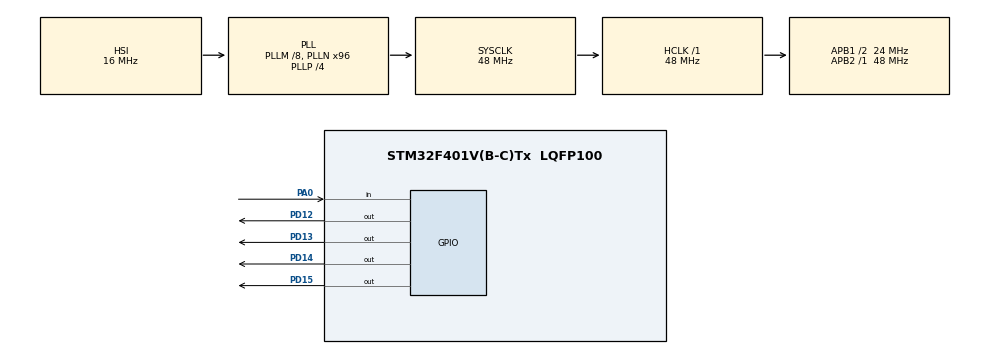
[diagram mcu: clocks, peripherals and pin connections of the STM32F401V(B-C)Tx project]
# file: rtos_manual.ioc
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Mcu.Family=STM32F4
Mcu.Name=STM32F401V(B-C)Tx
Mcu.Package=LQFP100
NVIC.PriorityGroup=NVIC_PRIORITYGROUP_4
PA0-WKUP.Signal=GPIO_Input
PD12.Signal=GPIO_Output
PD13.Signal=GPIO_Output
PD14.Signal=GPIO_Output
PD15.Signal=GPIO_Output
ProjectManager.HeapSize=0x2000
ProjectManager.StackSize=0x4000
ProjectManager.TargetToolchain=STM32CubeIDE
RCC.48MHZClocksFreq_Value=48000000
RCC.AHBFreq_Value=48000000
RCC.APB1CLKDivider=RCC_HCLK_DIV2
RCC.APB1Freq_Value=24000000
RCC.APB1TimFreq_Value=48000000
RCC.APB2Freq_Value=48000000
RCC.APB2TimFreq_Value=48000000
RCC.CortexFreq_Value=48000000
RCC.HCLKFreq_Value=48000000
RCC.HSE_VALUE=25000000
RCC.HSI_VALUE=16000000
RCC.LSE_VALUE=32768
RCC.PLLM=8
RCC.PLLN=96
RCC.PLLP=RCC_PLLP_DIV4
RCC.SYSCLKFreq_VALUE=48000000
RCC.SYSCLKSource=RCC_SYSCLKSOURCE_PLLCLK
RCC.VCOOutputFreq_Value=192000000
board=custom

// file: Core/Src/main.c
/* USER CODE BEGIN Header */
/**
  ******************************************************************************
  * @file           : main.c
  * @brief          : Main program body
  ******************************************************************************
  * @attention
  *
  * Copyright (c) 2024 STMicroelectronics.
  * All rights reserved.
  *
  * This software is licensed under terms that can be found in the LICENSE file
  * in the root directory of this software component.
  * If no LICENSE file comes with this software, it is provided AS-IS.
  *
  ******************************************************************************
  */
/* USER CODE END Header */
#include "main.h"

/* USER CODE BEGIN Includes */
#include "FreeRTOS.h"
#include "task.h"
/* USER CODE END Includes */

void SystemClock_Config(void);
static void MX_GPIO_Init(void);

/* USER CODE BEGIN 0 */
void vTask1(void *pvParameters) {
	//HAL_GPIO_TogglePin(GPIOD, GPIO_PIN_12);
    while(1)
    {
        // Toggle the first LED (e.g., GPIO_PIN_5)
        HAL_GPIO_TogglePin(GPIOD, GPIO_PIN_12);

        // Delay for 500 milliseconds
        vTaskDelay(500 / portTICK_PERIOD_MS);
    }
}

void vTask2(void *pvParameters) {
	//HAL_GPIO_TogglePin(GPIOD, GPIO_PIN_13);
    while(1)
    {
        // Toggle the second LED (e.g., GPIO_PIN_6)
    	HAL_GPIO_TogglePin(GPIOD, GPIO_PIN_13);

        // Delay for 1000 milliseconds
    	vTaskDelay(500 / portTICK_PERIOD_MS);
    }
}

/* USER CODE END 0 */

int main(void)
{

  /* MCU Configuration--------------------------------------------------------*/

  /* Reset of all peripherals, Initializes the Flash interface and the Systick. */
  HAL_Init();

  /* Configure the system clock */
  SystemClock_Config();

  /* Initialize all configured peripherals */
  MX_GPIO_Init();
  /* USER CODE BEGIN 2 */
  xTaskCreate(
      vTask1,          // Task function
      "LED Task 1",    // Task name
      512,             // Stack size (in words, not bytes)
      NULL,            // Task parameter
      tskIDLE_PRIORITY,// Task priority
      NULL             // Task handle
  );

  // Create the second task
  xTaskCreate(
      vTask2,          // Task function
      "LED Task 2",    // Task name
      512,             // Stack size (in words, not bytes)
      NULL,            // Task parameter
      tskIDLE_PRIORITY,// Task priority
      NULL             // Task handle
  );

  // Start the scheduler
  vTaskStartScheduler();
  /* USER CODE END 2 */

  /* Infinite loop */
  while (1)
  {

  }
}

void SystemClock_Config(void)
{
  RCC_OscInitTypeDef RCC_OscInitStruct = {0};
  RCC_ClkInitTypeDef RCC_ClkInitStruct = {0};

  /** Configure the main internal regulator output voltage
  */
  __HAL_RCC_PWR_CLK_ENABLE();
  __HAL_PWR_VOLTAGESCALING_CONFIG(PWR_REGULATOR_VOLTAGE_SCALE2);

  /** Initializes the RCC Oscillators according to the specified parameters
  * in the RCC_OscInitTypeDef structure.
  */
  RCC_OscInitStruct.OscillatorType = RCC_OSCILLATORTYPE_HSI;
  RCC_OscInitStruct.HSIState = RCC_HSI_ON;
  RCC_OscInitStruct.HSICalibrationValue = RCC_HSICALIBRATION_DEFAULT;
  RCC_OscInitStruct.PLL.PLLState = RCC_PLL_ON;
  RCC_OscInitStruct.PLL.PLLSource = RCC_PLLSOURCE_HSI;
  RCC_OscInitStruct.PLL.PLLM = 8;
  RCC_OscInitStruct.PLL.PLLN = 96;
  RCC_OscInitStruct.PLL.PLLP = RCC_PLLP_DIV4;
  RCC_OscInitStruct.PLL.PLLQ = 4;
  if (HAL_RCC_OscConfig(&RCC_OscInitStruct) != HAL_OK)
  {
    Error_Handler();
  }

  /** Initializes the CPU, AHB and APB buses clocks
  */
  RCC_ClkInitStruct.ClockType = RCC_CLOCKTYPE_HCLK|RCC_CLOCKTYPE_SYSCLK
                              |RCC_CLOCKTYPE_PCLK1|RCC_CLOCKTYPE_PCLK2;
  RCC_ClkInitStruct.SYSCLKSource = RCC_SYSCLKSOURCE_PLLCLK;
  RCC_ClkInitStruct.AHBCLKDivider = RCC_SYSCLK_DIV1;
  RCC_ClkInitStruct.APB1CLKDivider = RCC_HCLK_DIV2;
  RCC_ClkInitStruct.APB2CLKDivider = RCC_HCLK_DIV1;

  if (HAL_RCC_ClockConfig(&RCC_ClkInitStruct, FLASH_LATENCY_1) != HAL_OK)
  {
    Error_Handler();
  }
}

static void MX_GPIO_Init(void)
{
  GPIO_InitTypeDef GPIO_InitStruct = {0};

  /* GPIO Ports Clock Enable */
  __HAL_RCC_GPIOA_CLK_ENABLE();
  __HAL_RCC_GPIOD_CLK_ENABLE();

  /*Configure GPIO pin Output Level */
  HAL_GPIO_WritePin(GPIOD, GPIO_PIN_12|GPIO_PIN_13|GPIO_PIN_14|GPIO_PIN_15, GPIO_PIN_RESET);

  /*Configure GPIO pin : PA0 */
  GPIO_InitStruct.Pin = GPIO_PIN_0;
  GPIO_InitStruct.Mode = GPIO_MODE_INPUT;
  GPIO_InitStruct.Pull = GPIO_NOPULL;
  HAL_GPIO_Init(GPIOA, &GPIO_InitStruct);

  /*Configure GPIO pins : PD12 PD13 PD14 PD15 */
  GPIO_InitStruct.Pin = GPIO_PIN_12|GPIO_PIN_13|GPIO_PIN_14|GPIO_PIN_15;
  GPIO_InitStruct.Mode = GPIO_MODE_OUTPUT_PP;
  GPIO_InitStruct.Pull = GPIO_NOPULL;
  GPIO_InitStruct.Speed = GPIO_SPEED_FREQ_LOW;
  HAL_GPIO_Init(GPIOD, &GPIO_InitStruct);

}

void Error_Handler(void)
{
  __disable_irq();
  while (1)
  {
  }
}
